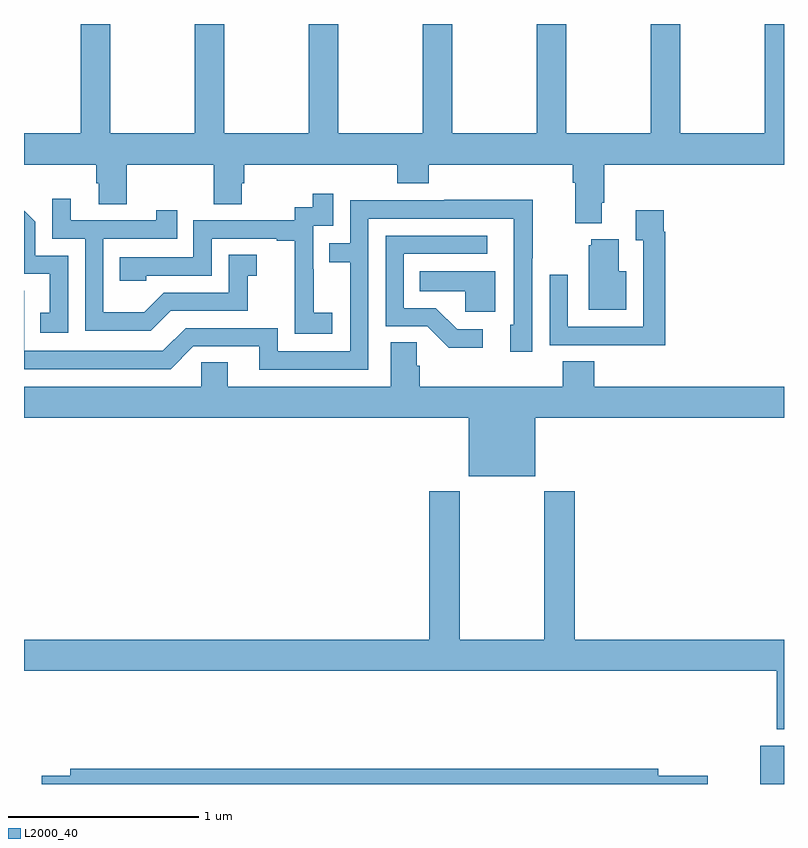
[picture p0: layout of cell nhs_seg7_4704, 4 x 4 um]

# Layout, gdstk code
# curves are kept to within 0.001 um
import gdstk
lib = gdstk.Library(unit=1e-6, precision=1e-09)
def R(c, l, rs):  # rectangles x0, y0, x1, y1
    for r in rs: c.add(gdstk.rectangle(r[:2], r[2:], *l))
def P(c, l, *ps):  # polygons
    for p in ps: c.add(gdstk.Polygon(p, *l))
L2000_40 = (2000, 40)

nhs_seg7_4704 = lib.new_cell('nhs_seg7_4704')
R(nhs_seg7_4704, L2000_40, [(410.876,1020,411,1020.202)])
P(nhs_seg7_4704, L2000_40, [(411,1024),(410.899,1024),(410.899,1023.424),(410.454,1023.424),(410.454,1024),(410.299,1024),(410.299,1023.424),(409.854,1023.424),(409.854,1024),(409.699,1024),(409.699,1023.424),(409.254,1023.424),(409.254,1024),(409.099,1024),(409.099,1023.424),(408.654,1023.424),(408.654,1024),(408.499,1024),(408.499,1023.424),(408.054,1023.424),(408.054,1024),(407.899,1024),(407.899,1023.424),(407.454,1023.424),(407.454,1024),(407.299,1024),(407.299,1023.424),(407,1023.424),(407,1023.26),(407.381,1023.26),(407.381,1023.162),(407.393,1023.162),(407.393,1023.052),(407.541,1023.052),(407.541,1023.26),(407.998,1023.26),(407.998,1023.052),(408.145,1023.052),(408.145,1023.162),(408.158,1023.162),(408.158,1023.26),(408.965,1023.26),(408.965,1023.161),(409.13,1023.161),(409.13,1023.26),(409.889,1023.26),(409.889,1023.164),(409.901,1023.164),(409.901,1022.951),(410.041,1022.951),(410.041,1023.058),(410.054,1023.058),(410.054,1023.26),(411,1023.26)],
  [(408.622,1022.479),(408.524,1022.479),(408.524,1022.708),(408.522,1022.708),(408.522,1022.937),(408.627,1022.937),(408.627,1023.106),(408.519,1023.106),(408.519,1023.036),(408.426,1023.036),(408.426,1022.967),(407.892,1022.967),(407.892,1022.772),(407.503,1022.772),(407.503,1022.649),(407.643,1022.649),(407.643,1022.676),(407.988,1022.676),(407.988,1022.871),(408.329,1022.871),(408.329,1022.859),(408.425,1022.859),(408.425,1022.575),(408.424,1022.575),(408.424,1022.369),(408.622,1022.369)],
  [(407.773,1022.49),(408.177,1022.49),(408.177,1022.675),(408.226,1022.675),(408.226,1022.785),(408.078,1022.785),(408.078,1022.586),(407.736,1022.586),(407.632,1022.482),(407.418,1022.482),(407.418,1022.871),(407.807,1022.871),(407.807,1023.019),(407.696,1023.019),(407.696,1022.967),(407.245,1022.967),(407.245,1023.079),(407.148,1023.079),(407.148,1022.871),(407.322,1022.871),(407.322,1022.385),(407.668,1022.385)],
  [(408.813,1022.976),(409.577,1022.976),(409.578,1022.418),(409.559,1022.418),(409.559,1022.274),(409.674,1022.274),(409.674,1022.767),(409.677,1022.767),(409.677,1023.074),(409.213,1023.074),(409.213,1023.072),(408.717,1023.072),(408.717,1022.847),(408.607,1022.847),(408.607,1022.746),(408.717,1022.746),(408.717,1022.277),(408.336,1022.277),(408.336,1022.4),(407.85,1022.4),(407.73,1022.28),(407.001,1022.28),(407,1022.595),(407,1022.184),(407.772,1022.184),(407.892,1022.304),(408.239,1022.304),(408.239,1022.181),(408.813,1022.181)],
  [(410.375,1022.906),(410.368,1022.906),(410.368,1023.019),(410.219,1023.019),(410.219,1022.863),(410.259,1022.863),(410.259,1022.406),(409.863,1022.406),(409.863,1022.68),(409.767,1022.68),(409.767,1022.31),(410.083,1022.31),(410.083,1022.309),(410.375,1022.309)],
  [(407.232,1022.781),(407.058,1022.781),(407.058,1022.958),(407,1023.016),(407,1022.685),(407.135,1022.685),(407.135,1022.481),(407.086,1022.481),(407.086,1022.376),(407.232,1022.376)],
  [(409.414,1022.394),(409.279,1022.394),(409.168,1022.505),(408.999,1022.505),(408.999,1022.79),(409.438,1022.79),(409.438,1022.886),(408.903,1022.886),(408.903,1022.409),(409.122,1022.409),(409.235,1022.297),(409.414,1022.297)],
  [(410.17,1022.698),(410.131,1022.698),(410.131,1022.866),(409.985,1022.866),(409.985,1022.835),(409.973,1022.835),(409.973,1022.495),(410.17,1022.495)],
  [(409.48,1022.698),(409.084,1022.698),(409.084,1022.594),(409.323,1022.594),(409.323,1022.486),(409.48,1022.486)],
  [(409.69,1021.928),(411,1021.928),(411,1022.092),(410,1022.092),(410,1022.225),(409.835,1022.225),(409.835,1022.092),(409.082,1022.092),(409.082,1022.201),(409.068,1022.201),(409.068,1022.324),(408.929,1022.324),(408.929,1022.092),(408.073,1022.092),(408.073,1022.219),(407.934,1022.219),(407.934,1022.092),(407,1022.092),(407,1021.928),(409.34,1021.928),(409.34,1021.619),(409.69,1021.619)],
  [(409.738,1021.54),(409.738,1020.76),(409.293,1020.76),(409.293,1021.54),(409.133,1021.54),(409.133,1020.76),(407,1020.76),(407,1020.596),(410.963,1020.596),(410.963,1020.287),(411,1020.287),(411,1020.76),(409.898,1020.76),(409.898,1021.54)],
  [(410.599,1020.044),(410.338,1020.044),(410.338,1020.08),(407.243,1020.08),(407.243,1020.044),(407.094,1020.044),(407.094,1020),(410.599,1020)])

lib.write_gds('nhs_seg7_4704.gds')
